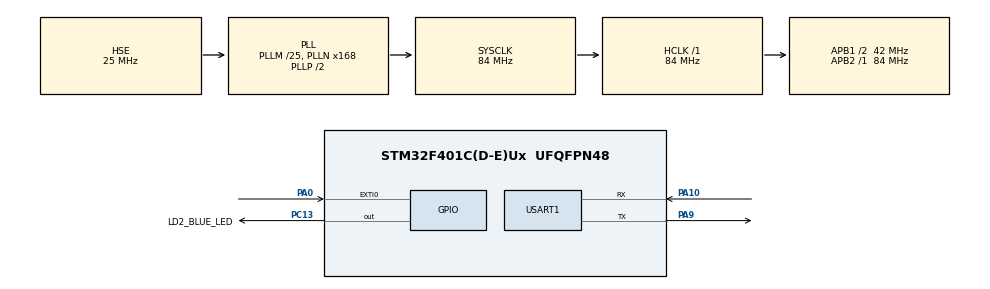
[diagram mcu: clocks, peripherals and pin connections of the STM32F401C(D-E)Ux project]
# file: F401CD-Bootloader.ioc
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Mcu.Family=STM32F4
Mcu.Name=STM32F401C(D-E)Ux
Mcu.Package=UFQFPN48
NVIC.EXTI0_IRQn=true\:0\:0\:false\:false\:true\:true\:true\:true
NVIC.PriorityGroup=NVIC_PRIORITYGROUP_4
PA0-WKUP.Signal=GPXTI0
PA10.Mode=Asynchronous
PA10.Signal=USART1_RX
PA13.Mode=Trace_Asynchronous_SW
PA13.Signal=SYS_JTMS-SWDIO
PA14.Mode=Trace_Asynchronous_SW
PA14.Signal=SYS_JTCK-SWCLK
PA9.Mode=Asynchronous
PA9.Signal=USART1_TX
PB3.Mode=Trace_Asynchronous_SW
PB3.Signal=SYS_JTDO-SWO
PC13-ANTI_TAMP.GPIO_Label=LD2_BLUE_LED
PC13-ANTI_TAMP.Signal=GPIO_Output
PC14-OSC32_IN.Mode=LSE-External-Oscillator
PC14-OSC32_IN.Signal=RCC_OSC32_IN
PC15-OSC32_OUT.Mode=LSE-External-Oscillator
PC15-OSC32_OUT.Signal=RCC_OSC32_OUT
PH0\ -\ OSC_IN.Mode=HSE-External-Oscillator
PH0\ -\ OSC_IN.Signal=RCC_OSC_IN
PH1\ -\ OSC_OUT.Mode=HSE-External-Oscillator
PH1\ -\ OSC_OUT.Signal=RCC_OSC_OUT
ProjectManager.HeapSize=0x200
ProjectManager.StackSize=0x400
ProjectManager.TargetToolchain=STM32CubeIDE
RCC.48MHZClocksFreq_Value=42000000
RCC.AHBFreq_Value=84000000
RCC.APB1CLKDivider=RCC_HCLK_DIV2
RCC.APB1Freq_Value=42000000
RCC.APB1TimFreq_Value=84000000
RCC.APB2Freq_Value=84000000
RCC.APB2TimFreq_Value=84000000
RCC.CortexFreq_Value=84000000
RCC.HCLKFreq_Value=84000000
RCC.HSE_VALUE=25000000
RCC.HSI_VALUE=16000000
RCC.PLLM=25
RCC.PLLN=168
RCC.PLLSourceVirtual=RCC_PLLSOURCE_HSE
RCC.SYSCLKFreq_VALUE=84000000
RCC.SYSCLKSource=RCC_SYSCLKSOURCE_PLLCLK
RCC.VCOOutputFreq_Value=168000000
USART1.VirtualMode=VM_ASYNC
board=custom

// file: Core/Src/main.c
/* USER CODE BEGIN Header */
/**
  ******************************************************************************
  * @file           : main.c
  * @brief          : Main program body
  ******************************************************************************
  * @attention
  *
  * Copyright (c) 2026 STMicroelectronics.
  * All rights reserved.
  *
  * This software is licensed under terms that can be found in the LICENSE file
  * in the root directory of this software component.
  * If no LICENSE file comes with this software, it is provided AS-IS.
  *
  ******************************************************************************
  */
/* USER CODE END Header */
#include "main.h"
#include "usart.h"
#include "gpio.h"

/* USER CODE BEGIN Includes */

#include "bootloader.h"
#include <stdbool.h>
#include "string.h"
#include "stdio.h"
/* USER CODE END Includes */

void SystemClock_Config(void);

/* USER CODE BEGIN 0 */

/* GPIO for "stay in bootloader" button – adjust to your board */
#define BL_FORCE_PORT   GPIOA
#define BL_FORCE_PIN    GPIO_PIN_0
#define BL_FORCE_ACTIVE GPIO_PIN_RESET   /* active-low button */

static bool bootloader_force_requested(void)
{
    return HAL_GPIO_ReadPin(BL_FORCE_PORT, BL_FORCE_PIN) == BL_FORCE_ACTIVE;
}

/* USER CODE END 0 */

int main(void)
{

  /* MCU Configuration--------------------------------------------------------*/

  /* Reset of all peripherals, Initializes the Flash interface and the Systick. */
  HAL_Init();

  /* Configure the system clock */
  SystemClock_Config();

  /* Initialize all configured peripherals */
  MX_GPIO_Init();
  MX_USART1_UART_Init();
  /* USER CODE BEGIN 2 */

  if (!bootloader_force_requested() && bootloader_app_valid()) {

	  char msg[] = "Prepare into Application !\r\n";
	  HAL_UART_Transmit(&huart1, (uint8_t *)msg, strlen(msg), 1000);

      bootloader_jump_to_app();   /* boots < 10 ms if app is valid */
      /* never returns */
  }

  /* --- Stay in bootloader --- */
  /* Optional: signal via LED, UART greeting, etc. */

  bl_status_t result = bootloader_receive_xmodem();

  /* Print XMODEM result */
  char buf[48];
  sprintf(buf, "XMODEM result: %d\r\n", result);
  HAL_UART_Transmit(&huart1, (uint8_t *)buf, strlen(buf), 1000);

  /* Print what bootloader_app_valid() sees */
  uint32_t sp = *(volatile uint32_t *)APP_START_ADDR;
  uint32_t pc = *(volatile uint32_t *)(APP_START_ADDR + 4);
  sprintf(buf, "SP: 0x%08lX  PC: 0x%08lX\r\n", sp, pc);
  HAL_UART_Transmit(&huart1, (uint8_t *)buf, strlen(buf), 1000);

  if (result == BL_OK && bootloader_app_valid()) {
      HAL_UART_Transmit(&huart1, (uint8_t *)"Jumping...\r\n", 12, 1000);
      HAL_Delay(100);
      bootloader_jump_to_app();
  }

  HAL_UART_Transmit(&huart1, (uint8_t *)"Jump failed!\r\n", 14, 1000);
  /* USER CODE END 2 */

  /* Infinite loop */
  while (1)
  {

    /* USER CODE BEGIN 3 */

      HAL_GPIO_TogglePin(LD2_BLUE_LED_GPIO_Port, LD2_BLUE_LED_Pin);
      HAL_Delay(1000);
  }
  /* USER CODE END 3 */
}

void SystemClock_Config(void)
{
  RCC_OscInitTypeDef RCC_OscInitStruct = {0};
  RCC_ClkInitTypeDef RCC_ClkInitStruct = {0};

  /** Configure the main internal regulator output voltage
  */
  __HAL_RCC_PWR_CLK_ENABLE();
  __HAL_PWR_VOLTAGESCALING_CONFIG(PWR_REGULATOR_VOLTAGE_SCALE2);

  /** Initializes the RCC Oscillators according to the specified parameters
  * in the RCC_OscInitTypeDef structure.
  */
  RCC_OscInitStruct.OscillatorType = RCC_OSCILLATORTYPE_HSE;
  RCC_OscInitStruct.HSEState = RCC_HSE_ON;
  RCC_OscInitStruct.PLL.PLLState = RCC_PLL_ON;
  RCC_OscInitStruct.PLL.PLLSource = RCC_PLLSOURCE_HSE;
  RCC_OscInitStruct.PLL.PLLM = 25;
  RCC_OscInitStruct.PLL.PLLN = 168;
  RCC_OscInitStruct.PLL.PLLP = RCC_PLLP_DIV2;
  RCC_OscInitStruct.PLL.PLLQ = 4;
  if (HAL_RCC_OscConfig(&RCC_OscInitStruct) != HAL_OK)
  {
    Error_Handler();
  }

  /** Initializes the CPU, AHB and APB buses clocks
  */
  RCC_ClkInitStruct.ClockType = RCC_CLOCKTYPE_HCLK|RCC_CLOCKTYPE_SYSCLK
                              |RCC_CLOCKTYPE_PCLK1|RCC_CLOCKTYPE_PCLK2;
  RCC_ClkInitStruct.SYSCLKSource = RCC_SYSCLKSOURCE_PLLCLK;
  RCC_ClkInitStruct.AHBCLKDivider = RCC_SYSCLK_DIV1;
  RCC_ClkInitStruct.APB1CLKDivider = RCC_HCLK_DIV2;
  RCC_ClkInitStruct.APB2CLKDivider = RCC_HCLK_DIV1;

  if (HAL_RCC_ClockConfig(&RCC_ClkInitStruct, FLASH_LATENCY_2) != HAL_OK)
  {
    Error_Handler();
  }
}

void Error_Handler(void)
{
  __disable_irq();
  while (1)
  {
  }
}
